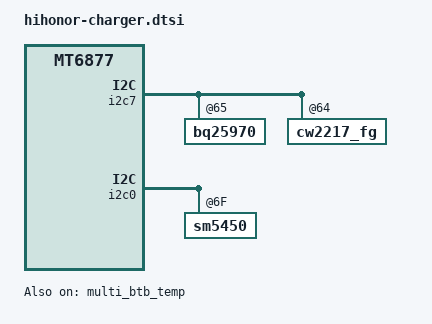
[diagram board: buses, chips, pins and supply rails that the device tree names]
#include "../hihonor_charger/mt6877_ntx_honor_charger.dtsi"
#include "../hihonor_charger/mt6877_ntx_honor_outside_fuel.dtsi"

&i2c7 {
	bq25970@65 {
		status = "ok";
	};
	fairchild_fsa9685@25 {
		status = "disabled";
	};
	rt9426a_fg@55 {
		status = "disabled";
	};
	cw2217_fg@64 {
		status = "ok";
	};
};

&i2c0 {
	bq25970@65 {
		status = "disabled";
	};
	sm5450@6F{
		status = "ok";
		support_unbalanced_current_sc = <1>;
		use_typec_plugout_to_quick_exit = <1>;
	};
};

&direct_charger_sc {
	support_multi_ic = <1>;
};

&multi_btb_temp {
	status = "ok";
};


&power_thermalzone {
	sensors {
		sensor2 {
			sensor_name = "cw2217";
			ops_name = "cw2217";
			adc_channel = <0>;
			ntc_index = <5>;
		};
	};
};
